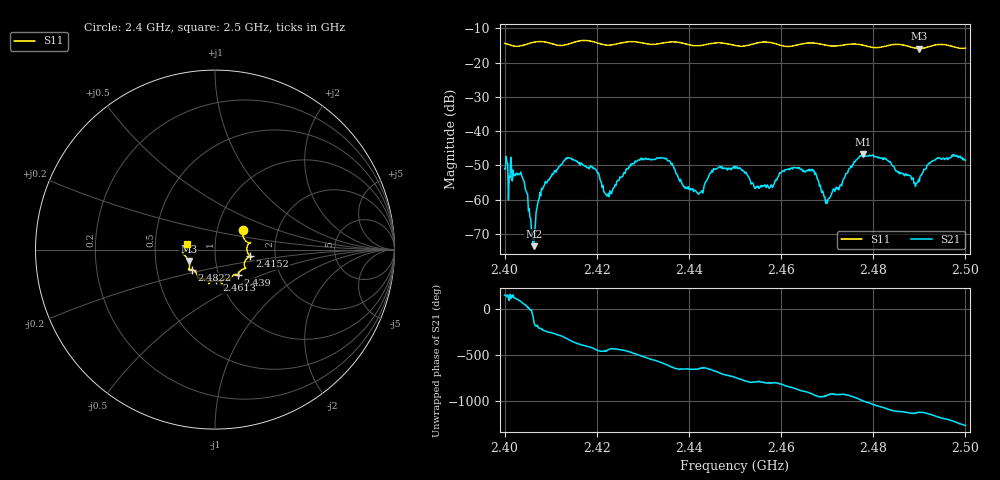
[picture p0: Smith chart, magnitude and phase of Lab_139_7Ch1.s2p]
# Hz S RI R 50
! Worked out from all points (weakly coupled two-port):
!   601 points, 2.4 GHz to 2.5 GHz, reference 50 ohm
!   highest |S21| = -46.73 dB at 2.4778 GHz (marker M1); lowest = -73.5 dB at 2.4063 GHz (marker M2)
!   lowest |S11| = -15.9 dB at 2.49 GHz (marker M3), VSWR 1.38, Z = 37 - j4.85 ohm
!   |S11| at or under -10 dB: start of sweep to end of sweep
!   S12 and S22 are empty: the file has one direction only
!   S11 on the Smith chart (normalised r, x): 2.4 GHz: 1.33, +0.31; 2.4152 GHz: 1.48, -0.11; 2.439 GHz: 1.24, -0.36; 2.4613 GHz: 0.96, -0.34; 2.4822 GHz: 0.76, -0.17; 2.5 GHz: 0.72, +0.05
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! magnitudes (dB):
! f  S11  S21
! 2.4 GHz  -14.4  -51.0
! 2.4038 GHz  -15.0  -53.4
! 2.4063 GHz  -14.1  -73.5
! 2.4085 GHz  -14.0  -56.0
! 2.4152 GHz  -14.1  -48.5
! 2.4167 GHz  -13.6  -49.2
! 2.4222 GHz  -14.9  -58.9
! 2.4278 GHz  -13.9  -49.4
! 2.4333 GHz  -14.6  -47.9
! 2.439 GHz  -14.5  -56.1
! 2.4425 GHz  -15.1  -57.8
! 2.45 GHz  -15.0  -50.8
! 2.4547 GHz  -14.3  -56.1
! 2.4613 GHz  -15.3  -51.1
! 2.4667 GHz  -14.3  -51.5
! 2.4702 GHz  -15.0  -59.9
! 2.4778 GHz  -15.0  -46.7
! 2.4822 GHz  -15.4  -48.3
! 2.4833 GHz  -15.0  -48.7
! 2.49 GHz  -15.9  -54.7
! 2.4938 GHz  -14.8  -48.0
! 2.5 GHz  -15.8  -48.5
